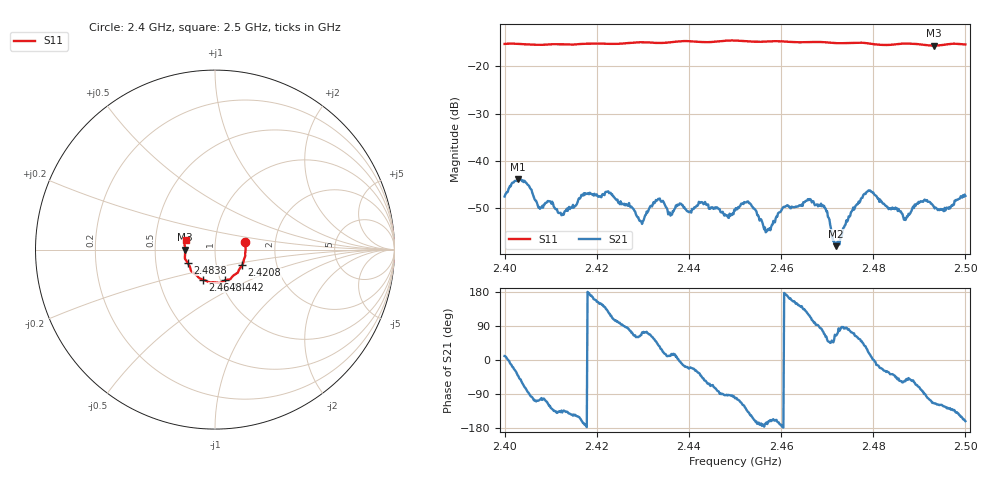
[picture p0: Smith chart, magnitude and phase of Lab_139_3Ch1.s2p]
# Hz S RI R 50
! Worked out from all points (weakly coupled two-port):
!   601 points, 2.4 GHz to 2.5 GHz, reference 50 ohm
!   highest |S21| = -43.77 dB at 2.4028 GHz (marker M1); lowest = -58.0 dB at 2.4718 GHz (marker M2)
!   lowest |S11| = -15.6 dB at 2.4932 GHz (marker M3), VSWR 1.40, Z = 35.8 - j0.0842 ohm
!   |S11| at or under -10 dB: start of sweep to end of sweep
!   S12 and S22 are empty: the file has one direction only
!   S11 on the Smith chart (normalised r, x): 2.4 GHz: 1.40, +0.12; 2.4208 GHz: 1.33, -0.24; 2.4442 GHz: 1.05, -0.37; 2.4648 GHz: 0.83, -0.29; 2.4838 GHz: 0.73, -0.11; 2.5 GHz: 0.72, +0.08
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2.4e9  0.168 0.041  0.00416 0.000767  0 0  0 0
2.402833e9  0.1717 0.0258  0.00494 -0.0042  0 0  0 0
2.412333e9  0.1668 -0.0407  -0.00185 -0.00194  0 0  0 0
2.416667e9  0.159 -0.0681  -0.00413 -0.00153  0 0  0 0
2.420833e9  0.1508 -0.0874  -0.00354 0.00222  0 0  0 0
2.429667e9  0.1254 -0.1293  0.000937 0.00211  0 0  0 0
2.433333e9  0.1079 -0.1402  0.00307 0.00255  0 0  0 0
2.436e9  0.0945 -0.1532  0.00261 0.000501  0 0  0 0
2.444167e9  0.0568 -0.1714  0.00166 -0.00307  0 0  0 0
2.45e9  0.0246 -0.1862  -0.000578 -0.00295  0 0  0 0
2.453e9  0.0088 -0.1836  -0.0027 -0.00239  0 0  0 0
2.457167e9  -0.0211 -0.1824  -0.00184 -0.000535  0 0  0 0
2.460833e9  -0.0399 -0.1787  -0.00328 0.000286  0 0  0 0
2.464833e9  -0.0684 -0.1668  -0.00256 0.00265  0 0  0 0
2.466667e9  -0.08 -0.1626  -0.000993 0.00353  0 0  0 0
2.4695e9  -0.0912 -0.1553  0.00123 0.00294  0 0  0 0
2.471833e9  -0.1011 -0.1448  0.00055 0.00114  0 0  0 0
2.4785e9  -0.1357 -0.1126  0.00401 0.00241  0 0  0 0
2.483333e9  -0.1506 -0.0763  0.00263 -0.00166  0 0  0 0
2.483833e9  -0.1532 -0.0721  0.00246 -0.00188  0 0  0 0
2.493167e9  -0.166 -0.00114  -0.00134 -0.003  0 0  0 0
2.5e9  -0.1623 0.0528  -0.00407 -0.00137  0 0  0 0
